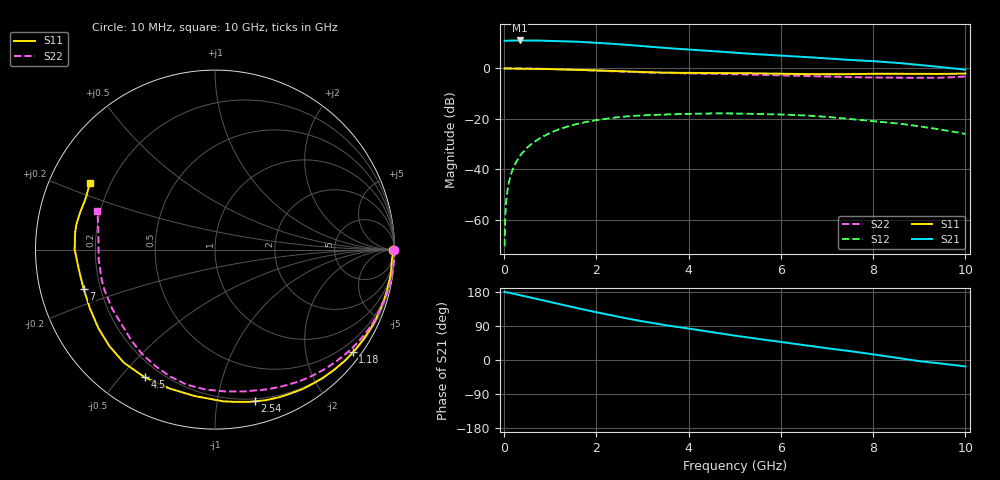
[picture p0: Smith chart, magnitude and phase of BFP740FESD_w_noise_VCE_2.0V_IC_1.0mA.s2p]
! Infineon Technologies  Discrete & RF Semiconductors
! BFP740FESD
! VCE =  2.0 V,  IC =  1.0 mA
! Common Emitter S-Parameters:  Jan 2016
# GHz  S  MA  R  50
!  f  S11  S21  S12  S22
! GHz  MAG  ANG  MAG  ANG  MAG  ANG  MAG  ANG
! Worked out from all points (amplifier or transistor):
!   233 points, 10 MHz to 10 GHz, reference 50 ohm
!   highest |S21| = 11.0 dB at 340 MHz (marker M1)
!   |S21| within 3 dB of that: start of sweep to 3.529 GHz
!   unconditionally stable (mu >= 1): 8.84 GHz to end of sweep
!   at 200 MHz: K = -0.01, MSG = 25.2 dB, |S12| = -39.4 dB
!   at 1.74 GHz: K = 0.09, MSG = 15.9 dB, |S12| = -21.4 dB
!   at 10 GHz: K = 1.66, MAG = 8.0 dB, |S12| = -26.0 dB
!   lowest NFmin = 0.46 dB at 450 MHz
!   S11 on the Smith chart (normalised r, x): 10 MHz: open; 1.18 GHz: 0.22, -3.00; 2.54 GHz: 0.18, -1.28; 4.5 GHz: 0.14, -0.58; 7 GHz: 0.14, -0.14; 10 GHz: 0.12, +0.25
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0.01  0.9925 -0.2  3.526 179.6  0.0003 38.8  0.9979 0.0
0.02  0.9924 -0.5  3.5 179.8  0.001 103.7  0.9997 -0.5
0.025  0.9921 -0.7  3.503 179.6  0.0013 98.9  0.9997 -0.6
0.055  0.9902 -1.7  3.52 178.6  0.0029 89.1  0.9997 -1.3
0.09  0.988 -2.8  3.533 177.9  0.0048 87.5  0.9996 -2.1
0.19  0.9882 -5.9  3.559 175.3  0.0102 85.8  0.9989 -4.5
0.34  0.9865 -10.6  3.568 171.2  0.0182 82.3  0.9965 -8.0
0.7  0.9777 -21.8  3.557 161.3  0.0374 73.6  0.9859 -16.5
1.18  0.9581 -36.7  3.478 148.1  0.0615 61.7  0.9615 -28.1
1.68  0.9299 -51.7  3.33 134.3  0.083 49.2  0.9264 -40.1
2.2  0.8985 -66.1  3.127 121.0  0.1003 37.5  0.8879 -52.3
2.54  0.8746 -75.2  2.974 112.7  0.1091 30.0  0.8617 -59.9
3  0.8467 -86.8  2.764 102.0  0.1175 20.6  0.8308 -69.6
3.4  0.8258 -95.6  2.576 94.0  0.1213 13.6  0.8104 -76.5
4.5  0.8123 -118.8  2.203 73.5  0.1283 -3.2  0.7816 -93.9
5.1  0.8053 -130.6  2.013 62.7  0.1272 -12.5  0.764 -103.5
6  0.7833 -146.1  1.792 47.6  0.1222 -25.3  0.7284 -117.2
6.8  0.7642 -159.9  1.614 34.5  0.1124 -36.6  0.6962 -129.2
7  0.7638 -163.4  1.573 31.0  0.1093 -39.6  0.6896 -132.0
8.4  0.7851 173.0  1.309 7.8  0.0835 -54.0  0.6558 -159.9
9  0.7794 164.2  1.172 -3.1  0.0711 -60.1  0.6503 -175.3
10  0.7901 152.0  0.945 -17.1  0.0501 -64.2  0.6896 161.7
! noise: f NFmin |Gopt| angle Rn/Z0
0.45  0.46  0.83  8  0.43
2.4  0.9  0.62  51  0.38
5.5  1.25  0.67  126  0.17
10  2.91  0.64  -148  0.23
